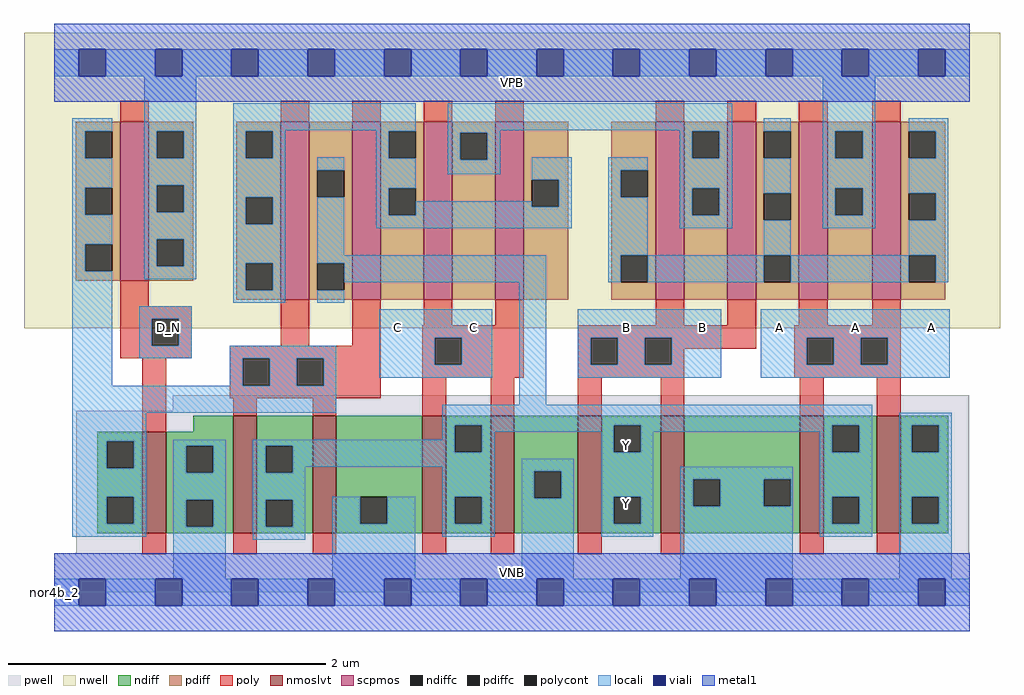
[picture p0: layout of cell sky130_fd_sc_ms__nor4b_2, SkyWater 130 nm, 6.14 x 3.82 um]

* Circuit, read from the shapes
.subckt sky130_fd_sc_ms__nor4b_2 A B C D_N VGND VNB VPB VPWR Y
XM1 VGND D_N n1 VNB sky130_fd_pr__nfet_01v8_lvt w=0.64 l=0.15
XM2 Y n1 VGND VNB sky130_fd_pr__nfet_01v8_lvt w=0.74 l=0.15 m=2
XM3 Y C VGND VNB sky130_fd_pr__nfet_01v8_lvt w=0.74 l=0.15 m=2
XM4 Y B VGND VNB sky130_fd_pr__nfet_01v8_lvt w=0.74 l=0.15 m=2
XM5 Y A VGND VNB sky130_fd_pr__nfet_01v8_lvt w=0.74 l=0.15 m=2
XM6 VPWR D_N n1 VPB sky130_fd_pr__pfet_01v8 w=1 l=0.18
XM7 Y n1 n2 VPB sky130_fd_pr__pfet_01v8 w=1.12 l=0.18 m=2
XM8 n3 C n2 VPB sky130_fd_pr__pfet_01v8 w=1.12 l=0.18 m=2
XM9 n3 B n4 VPB sky130_fd_pr__pfet_01v8 w=1.12 l=0.18 m=2
XM10 VPWR A n4 VPB sky130_fd_pr__pfet_01v8 w=1.12 l=0.18 m=2
.ends

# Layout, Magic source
magic
tech sky130A
magscale 1 2
<< nwell >>
rect -38 332 1190 704
<< pwell >>
rect 149 228 1151 248
rect 28 49 1151 228
rect 0 0 1152 49
<< scpmos >>
rect 83 392 119 592
rect 285 368 321 592
rect 375 368 411 592
rect 465 368 501 592
rect 555 368 591 592
rect 757 368 793 592
rect 847 368 883 592
rect 937 368 973 592
rect 1029 368 1065 592
<< nmoslvt >>
rect 111 74 141 202
rect 225 74 255 222
rect 325 74 355 222
rect 463 74 493 222
rect 549 74 579 222
rect 659 74 689 222
rect 763 74 793 222
rect 938 74 968 222
rect 1035 74 1065 222
<< ndiff >>
rect 175 202 225 222
rect 54 190 111 202
rect 54 156 66 190
rect 100 156 111 190
rect 54 120 111 156
rect 54 86 66 120
rect 100 86 111 120
rect 54 74 111 86
rect 141 184 225 202
rect 141 150 166 184
rect 200 150 225 184
rect 141 116 225 150
rect 141 82 166 116
rect 200 82 225 116
rect 141 74 225 82
rect 255 184 325 222
rect 255 150 266 184
rect 300 150 325 184
rect 255 116 325 150
rect 255 82 266 116
rect 300 82 325 116
rect 255 74 325 82
rect 355 120 463 222
rect 355 86 385 120
rect 419 86 463 120
rect 355 74 463 86
rect 493 210 549 222
rect 493 176 504 210
rect 538 176 549 210
rect 493 120 549 176
rect 493 86 504 120
rect 538 86 549 120
rect 493 74 549 86
rect 579 152 659 222
rect 579 118 604 152
rect 638 118 659 152
rect 579 74 659 118
rect 689 210 763 222
rect 689 176 704 210
rect 738 176 763 210
rect 689 120 763 176
rect 689 86 704 120
rect 738 86 763 120
rect 689 74 763 86
rect 793 142 938 222
rect 793 108 804 142
rect 838 108 893 142
rect 927 108 938 142
rect 793 74 938 108
rect 968 210 1035 222
rect 968 176 979 210
rect 1013 176 1035 210
rect 968 120 1035 176
rect 968 86 979 120
rect 1013 86 1035 120
rect 968 74 1035 86
rect 1065 210 1125 222
rect 1065 176 1079 210
rect 1113 176 1125 210
rect 1065 120 1125 176
rect 1065 86 1079 120
rect 1113 86 1125 120
rect 1065 74 1125 86
<< pdiff >>
rect 27 580 83 592
rect 27 546 39 580
rect 73 546 83 580
rect 27 509 83 546
rect 27 475 39 509
rect 73 475 83 509
rect 27 438 83 475
rect 27 404 39 438
rect 73 404 83 438
rect 27 392 83 404
rect 119 580 175 592
rect 119 546 129 580
rect 163 546 175 580
rect 119 512 175 546
rect 119 478 129 512
rect 163 478 175 512
rect 119 444 175 478
rect 119 410 129 444
rect 163 410 175 444
rect 119 392 175 410
rect 229 580 285 592
rect 229 546 241 580
rect 275 546 285 580
rect 229 497 285 546
rect 229 463 241 497
rect 275 463 285 497
rect 229 414 285 463
rect 229 380 241 414
rect 275 380 285 414
rect 229 368 285 380
rect 321 531 375 592
rect 321 497 331 531
rect 365 497 375 531
rect 321 414 375 497
rect 321 380 331 414
rect 365 380 375 414
rect 321 368 375 380
rect 411 580 465 592
rect 411 546 421 580
rect 455 546 465 580
rect 411 508 465 546
rect 411 474 421 508
rect 455 474 465 508
rect 411 368 465 474
rect 501 578 555 592
rect 501 544 511 578
rect 545 544 555 578
rect 501 368 555 544
rect 591 519 647 592
rect 591 485 601 519
rect 635 485 647 519
rect 591 368 647 485
rect 701 531 757 592
rect 701 497 713 531
rect 747 497 757 531
rect 701 424 757 497
rect 701 390 713 424
rect 747 390 757 424
rect 701 368 757 390
rect 793 580 847 592
rect 793 546 803 580
rect 837 546 847 580
rect 793 508 847 546
rect 793 474 803 508
rect 837 474 847 508
rect 793 368 847 474
rect 883 580 937 592
rect 883 546 893 580
rect 927 546 937 580
rect 883 502 937 546
rect 883 468 893 502
rect 927 468 937 502
rect 883 424 937 468
rect 883 390 893 424
rect 927 390 937 424
rect 883 368 937 390
rect 973 580 1029 592
rect 973 546 983 580
rect 1017 546 1029 580
rect 973 508 1029 546
rect 973 474 983 508
rect 1017 474 1029 508
rect 973 368 1029 474
rect 1065 580 1121 592
rect 1065 546 1075 580
rect 1109 546 1121 580
rect 1065 502 1121 546
rect 1065 468 1075 502
rect 1109 468 1121 502
rect 1065 424 1121 468
rect 1065 390 1075 424
rect 1109 390 1121 424
rect 1065 368 1121 390
<< ndiffc >>
rect 66 156 100 190
rect 66 86 100 120
rect 166 150 200 184
rect 166 82 200 116
rect 266 150 300 184
rect 266 82 300 116
rect 385 86 419 120
rect 504 176 538 210
rect 504 86 538 120
rect 604 118 638 152
rect 704 176 738 210
rect 704 86 738 120
rect 804 108 838 142
rect 893 108 927 142
rect 979 176 1013 210
rect 979 86 1013 120
rect 1079 176 1113 210
rect 1079 86 1113 120
<< pdiffc >>
rect 39 546 73 580
rect 39 475 73 509
rect 39 404 73 438
rect 129 546 163 580
rect 129 478 163 512
rect 129 410 163 444
rect 241 546 275 580
rect 241 463 275 497
rect 241 380 275 414
rect 331 497 365 531
rect 331 380 365 414
rect 421 546 455 580
rect 421 474 455 508
rect 511 544 545 578
rect 601 485 635 519
rect 713 497 747 531
rect 713 390 747 424
rect 803 546 837 580
rect 803 474 837 508
rect 893 546 927 580
rect 893 468 927 502
rect 893 390 927 424
rect 983 546 1017 580
rect 983 474 1017 508
rect 1075 546 1109 580
rect 1075 468 1109 502
rect 1075 390 1109 424
<< poly >>
rect 83 592 119 618
rect 285 592 321 618
rect 375 592 411 618
rect 465 592 501 618
rect 555 592 591 618
rect 757 592 793 618
rect 847 592 883 618
rect 937 592 973 618
rect 1029 592 1065 618
rect 83 360 119 392
rect 83 344 173 360
rect 83 310 123 344
rect 157 310 173 344
rect 285 310 321 368
rect 375 310 411 368
rect 465 336 501 368
rect 555 336 591 368
rect 757 336 793 368
rect 847 336 883 368
rect 937 336 973 368
rect 1029 336 1065 368
rect 83 294 173 310
rect 221 294 411 310
rect 111 202 141 294
rect 221 260 237 294
rect 271 260 305 294
rect 339 260 411 294
rect 221 244 411 260
rect 463 320 591 336
rect 463 286 479 320
rect 513 286 591 320
rect 463 270 591 286
rect 659 320 883 336
rect 659 286 675 320
rect 709 286 743 320
rect 777 306 883 320
rect 931 320 1065 336
rect 777 286 793 306
rect 659 270 793 286
rect 931 286 947 320
rect 981 286 1015 320
rect 1049 286 1065 320
rect 931 270 1065 286
rect 225 222 255 244
rect 325 222 355 244
rect 463 222 493 270
rect 549 222 579 270
rect 659 222 689 270
rect 763 222 793 270
rect 938 222 968 270
rect 1035 222 1065 270
rect 111 48 141 74
rect 225 48 255 74
rect 325 48 355 74
rect 463 48 493 74
rect 549 48 579 74
rect 659 48 689 74
rect 763 48 793 74
rect 938 48 968 74
rect 1035 48 1065 74
<< polycont >>
rect 123 310 157 344
rect 237 260 271 294
rect 305 260 339 294
rect 479 286 513 320
rect 675 286 709 320
rect 743 286 777 320
rect 947 286 981 320
rect 1015 286 1049 320
<< locali >>
rect 0 649 31 683
rect 65 649 127 683
rect 161 649 223 683
rect 257 649 319 683
rect 353 649 415 683
rect 449 649 511 683
rect 545 649 607 683
rect 641 649 703 683
rect 737 649 799 683
rect 833 649 895 683
rect 929 649 991 683
rect 1025 649 1087 683
rect 1121 649 1152 683
rect 23 580 73 596
rect 23 546 39 580
rect 23 509 73 546
rect 23 475 39 509
rect 23 438 73 475
rect 23 404 39 438
rect 23 260 73 404
rect 113 580 179 649
rect 113 546 129 580
rect 163 546 179 580
rect 113 512 179 546
rect 113 478 129 512
rect 163 478 179 512
rect 113 444 179 478
rect 113 410 129 444
rect 163 410 179 444
rect 113 394 179 410
rect 225 581 455 615
rect 225 580 291 581
rect 225 546 241 580
rect 275 546 291 580
rect 405 580 455 581
rect 225 497 291 546
rect 225 463 241 497
rect 275 463 291 497
rect 225 414 291 463
rect 225 380 241 414
rect 275 380 291 414
rect 225 364 291 380
rect 331 531 365 547
rect 331 424 365 497
rect 405 546 421 580
rect 405 508 455 546
rect 495 581 853 615
rect 495 578 561 581
rect 495 544 511 578
rect 545 544 561 578
rect 787 580 853 581
rect 495 526 561 544
rect 405 474 421 508
rect 601 519 651 547
rect 455 485 601 492
rect 635 485 651 519
rect 455 474 651 485
rect 405 458 651 474
rect 697 531 747 547
rect 697 497 713 531
rect 697 424 747 497
rect 787 546 803 580
rect 837 546 853 580
rect 787 508 853 546
rect 787 474 803 508
rect 837 474 853 508
rect 787 458 853 474
rect 893 580 927 596
rect 893 502 927 546
rect 893 424 927 468
rect 967 580 1033 649
rect 967 546 983 580
rect 1017 546 1033 580
rect 967 508 1033 546
rect 967 474 983 508
rect 1017 474 1033 508
rect 967 458 1033 474
rect 1075 580 1125 596
rect 1109 546 1125 580
rect 1075 502 1125 546
rect 1109 468 1125 502
rect 1075 424 1125 468
rect 331 414 619 424
rect 365 390 619 414
rect 697 390 713 424
rect 747 390 893 424
rect 927 390 1075 424
rect 1109 390 1125 424
rect 331 364 365 380
rect 107 344 173 360
rect 107 310 123 344
rect 157 310 173 344
rect 409 320 551 356
rect 107 294 173 310
rect 221 294 355 310
rect 221 260 237 294
rect 271 260 305 294
rect 339 260 355 294
rect 409 286 479 320
rect 513 286 551 320
rect 409 270 551 286
rect 23 226 355 260
rect 585 236 619 390
rect 659 320 839 356
rect 659 286 675 320
rect 709 286 743 320
rect 777 286 839 320
rect 659 270 839 286
rect 889 320 1127 356
rect 889 286 947 320
rect 981 286 1015 320
rect 1049 286 1127 320
rect 889 270 1127 286
rect 23 190 116 226
rect 488 210 1029 236
rect 488 192 504 210
rect 23 156 66 190
rect 100 156 116 190
rect 23 120 116 156
rect 23 86 66 120
rect 100 86 116 120
rect 23 70 116 86
rect 150 184 216 192
rect 150 150 166 184
rect 200 150 216 184
rect 150 116 216 150
rect 150 82 166 116
rect 200 82 216 116
rect 150 17 216 82
rect 250 184 504 192
rect 250 150 266 184
rect 300 176 504 184
rect 538 202 704 210
rect 538 176 554 202
rect 300 158 554 176
rect 688 176 704 202
rect 738 202 979 210
rect 738 176 754 202
rect 300 150 316 158
rect 250 116 316 150
rect 488 120 554 158
rect 250 82 266 116
rect 300 82 316 116
rect 250 66 316 82
rect 350 86 385 120
rect 419 86 454 120
rect 350 17 454 86
rect 488 86 504 120
rect 538 86 554 120
rect 488 70 554 86
rect 588 152 654 168
rect 588 118 604 152
rect 638 118 654 152
rect 588 17 654 118
rect 688 120 754 176
rect 963 176 979 202
rect 1013 176 1029 210
rect 688 86 704 120
rect 738 86 754 120
rect 688 70 754 86
rect 788 142 929 158
rect 788 108 804 142
rect 838 108 893 142
rect 927 108 929 142
rect 788 17 929 108
rect 963 120 1029 176
rect 963 86 979 120
rect 1013 86 1029 120
rect 963 70 1029 86
rect 1063 210 1129 226
rect 1063 176 1079 210
rect 1113 176 1129 210
rect 1063 120 1129 176
rect 1063 86 1079 120
rect 1113 86 1129 120
rect 1063 17 1129 86
rect 0 -17 31 17
rect 65 -17 127 17
rect 161 -17 223 17
rect 257 -17 319 17
rect 353 -17 415 17
rect 449 -17 511 17
rect 545 -17 607 17
rect 641 -17 703 17
rect 737 -17 799 17
rect 833 -17 895 17
rect 929 -17 991 17
rect 1025 -17 1087 17
rect 1121 -17 1152 17
<< viali >>
rect 31 649 65 683
rect 127 649 161 683
rect 223 649 257 683
rect 319 649 353 683
rect 415 649 449 683
rect 511 649 545 683
rect 607 649 641 683
rect 703 649 737 683
rect 799 649 833 683
rect 895 649 929 683
rect 991 649 1025 683
rect 1087 649 1121 683
rect 31 -17 65 17
rect 127 -17 161 17
rect 223 -17 257 17
rect 319 -17 353 17
rect 415 -17 449 17
rect 511 -17 545 17
rect 607 -17 641 17
rect 703 -17 737 17
rect 799 -17 833 17
rect 895 -17 929 17
rect 991 -17 1025 17
rect 1087 -17 1121 17
<< metal1 >>
rect 0 683 1152 715
rect 0 649 31 683
rect 65 649 127 683
rect 161 649 223 683
rect 257 649 319 683
rect 353 649 415 683
rect 449 649 511 683
rect 545 649 607 683
rect 641 649 703 683
rect 737 649 799 683
rect 833 649 895 683
rect 929 649 991 683
rect 1025 649 1087 683
rect 1121 649 1152 683
rect 0 617 1152 649
rect 0 17 1152 49
rect 0 -17 31 17
rect 65 -17 127 17
rect 161 -17 223 17
rect 257 -17 319 17
rect 353 -17 415 17
rect 449 -17 511 17
rect 545 -17 607 17
rect 641 -17 703 17
rect 737 -17 799 17
rect 833 -17 895 17
rect 929 -17 991 17
rect 1025 -17 1087 17
rect 1121 -17 1152 17
rect 0 -49 1152 -17
<< labels >>
flabel pwell s 0 0 1152 49 0 FreeSans 200 0 0 0 VNB
port 6 nsew ground bidirectional
flabel nwell s 0 617 1152 666 0 FreeSans 200 0 0 0 VPB
port 7 nsew power bidirectional
rlabel comment s 0 0 0 0 4 nor4b_2
flabel metal1 s 0 617 1152 666 0 FreeSans 340 0 0 0 VPWR
port 8 nsew power bidirectional
flabel metal1 s 0 0 1152 49 0 FreeSans 340 0 0 0 VGND
port 5 nsew ground bidirectional
flabel locali s 895 316 929 350 0 FreeSans 340 0 0 0 A
port 1 nsew signal input
flabel locali s 991 316 1025 350 0 FreeSans 340 0 0 0 A
port 1 nsew signal input
flabel locali s 1087 316 1121 350 0 FreeSans 340 0 0 0 A
port 1 nsew signal input
flabel locali s 703 316 737 350 0 FreeSans 340 0 0 0 B
port 2 nsew signal input
flabel locali s 799 316 833 350 0 FreeSans 340 0 0 0 B
port 2 nsew signal input
flabel locali s 415 316 449 350 0 FreeSans 340 0 0 0 C
port 3 nsew signal input
flabel locali s 511 316 545 350 0 FreeSans 340 0 0 0 C
port 3 nsew signal input
flabel locali s 127 316 161 350 0 FreeSans 340 0 0 0 D_N
port 4 nsew signal input
flabel locali s 703 94 737 128 0 FreeSans 340 0 0 0 Y
port 9 nsew signal output
flabel locali s 703 168 737 202 0 FreeSans 340 0 0 0 Y
port 9 nsew signal output
<< properties >>
string LEFsite unit
string LEFclass CORE
string FIXED_BBOX 0 0 1152 666
string GDS_FILE $PDKPATH/libs.ref/sky130_fd_sc_ms/gds/sky130_fd_sc_ms.gds
string LEFsymmetry X Y
string GDS_END 931758
string GDS_START 921826
<< end >>
